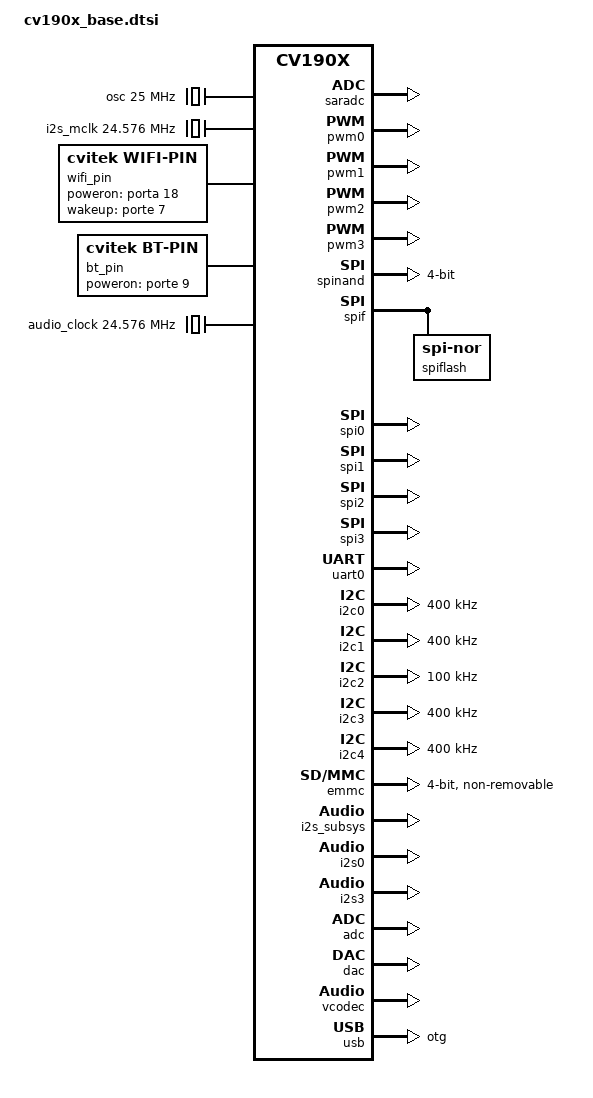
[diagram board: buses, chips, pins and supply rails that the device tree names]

/ {
	compatible = "cvitek,cv190x";

	#size-cells = <0x2>;
	#address-cells = <0x2>;

	top_misc:top_misc_ctrl@3000000 {
		compatible = "syscon";
		reg = <0x0 0x03000000 0x0 0x8000>;
	};

	clk_rst: clk-reset-controller {
		#reset-cells = <1>;
		compatible = "cvitek,clk-reset";
		reg = <0x0 0x03002000 0x0 0x8>;
	};

	osc: oscillator {
		#clock-cells = <0>;
		compatible = "fixed-clock";
		clock-frequency = <25000000>;
		clock-output-names = "osc";
	};

	clk: clock-controller {
		compatible = "cvitek,cv190x-clk";
		reg = <0x0 0x03002000 0x0 0x1000>;
		clocks = <&osc>;
		#clock-cells = <1>;
	};

	rst: reset-controller {
		#reset-cells = <1>;
		compatible = "cvitek,reset";
		reg = <0x0 0x03003000 0x0 0x10>;
	};

	restart: restart-controller {
		compatible = "cvitek,restart";
		reg = <0x0 0x05025000 0x0 0x2000>;
	};

	tpu {
		compatible = "cvitek,tpu";
		reg-names = "tdma", "tiu";
		reg = <0x0 0x0C100000 0x0 0x1000>,
			  <0x0 0x0C101000 0x0 0x1000>;
		clocks = <&clk CV190X_CLK_TPU>, <&clk CV190X_CLK_TPU_FAB>;
		clock-names = "clk_tpu_axi", "clk_tpu_fab";
		resets = <&rst RST_TDMA>, <&rst RST_TPU>, <&rst RST_TPUSYS>;
		reset-names = "res_tdma", "res_tpu", "res_tpusys";
	};

	mon {
		compatible = "cvitek,mon";
		reg-names = "pcmon", "ddr_ctrl", "ddr_phyd", "ddr_aximon", "ddr_top";
		reg = <0x0 0x01040000 0x0 0x1000>,
					<0x0 0x08004000 0x0 0x1000>,
					<0x0 0x08006000 0x0 0x1000>,
					<0x0 0x08008000 0x0 0x1000>,
					<0x0 0x0800A000 0x0 0x1000>;
	};

	saradc {
		compatible = "cvitek,saradc";
		reg-names = "top_domain_saradc", "rtc_domain_saradc";
		reg = <0x0 0x030F0000 0x0 0x1000>, <0x0 0x0502c000 0x0 0x1000>;
		clocks = <&clk CV190X_CLK_SARADC>;
		clock-names = "clk_saradc";
		resets = <&rst RST_SARADC>;
		reset-names = "res_saradc";
	};

	rtc {
		compatible = "cvitek,rtc";
		reg = <0x0 0x05026000 0x0 0x1000>,<0x0 0x05025000 0x0 0x1000>;
		clocks = <&clk CV190X_CLK_RTC_25M>;
		clock-names = "clk_rtc";
	};

#ifndef __UBOOT__
	cvitek-ion {
		compatible = "cvitek,cvitek-ion";

		heap_carveout@0 {
			compatible = "cvitek,carveout";
			memory-region = <&ion_reserved>;
		};
	};
#endif

	sysdma_remap {
		compatible = "cvitek,sysdma_remap";
		reg = <0x0 0x03000154 0x0 0x10>;
		ch-remap = <CVI_I2S0_RX CVI_I2S2_TX CVI_I2S1_RX CVI_I2S1_TX
					CVI_SPI_NAND CVI_SPI_NAND CVI_I2S2_RX CVI_I2S3_TX>;
		int_mux_base = <0x03000298>;
	};

	dmac: dma@0x4330000 {
		compatible = "snps,dmac-bm";
		reg = <0x0 0x04330000 0x0 0x1000>;
		clock-names = "clk_sdma_axi";
		clocks = <&clk CV190X_CLK_SDMA_AXI>;

		dma-channels = /bits/ 8 <8>;
		#dma-cells = <3>;
		dma-requests = /bits/ 8 <16>;
		chan_allocation_order = /bits/ 8 <0>;
		chan_priority = /bits/ 8 <1>;
		block_size = <1024>;
		dma-masters = /bits/ 8 <2>;
		data-width = <4 4>; /* bytes */
		axi_tr_width = <4>; /* bytes */
		block-ts = <15>;
	};

	watchdog0: cv-wd@0x3010000 {
		compatible = "snps,dw-wdt";
		reg = <0x0 0x03010000 0x0 0x1000>;
		resets = <&rst RST_WDT>;
		clocks = <&pclk>;
	};
	trng: dw_trng@0x02070000 {
		reg = <0x0 0x02070000 0x0 0x1000>;
		compatible = "snps,dw-trng";
	};
	spacc: cvi_spacc@02060000 {
		reg = <0x0 0x02060000 0x0 0x1000>;
		compatible = "cvitek,spacc";
	};

	pwm0: pwm@3060000 {
		compatible = "cvitek,cvi-pwm";
		reg = <0x0 0x3060000 0x0 0x1000>;
		clocks = <&clk CV190X_CLK_PWM>;
		#pwm-cells = <1>;
	};

	pwm1: pwm@3061000 {
		compatible = "cvitek,cvi-pwm";
		reg = <0x0 0x3061000 0x0 0x1000>;
		clocks = <&clk CV190X_CLK_PWM>;
		#pwm-cells = <2>;
	};

	pwm2: pwm@3062000 {
		compatible = "cvitek,cvi-pwm";
		reg = <0x0 0x3062000 0x0 0x1000>;
		clocks = <&clk CV190X_CLK_PWM>;
		#pwm-cells = <3>;
	};

	pwm3: pwm@3063000 {
		compatible = "cvitek,cvi-pwm";
		reg = <0x0 0x3063000 0x0 0x1000>;
		clocks = <&clk CV190X_CLK_PWM>;
		#pwm-cells = <4>;
	};

	pclk: pclk {
		#clock-cells = <0>;
		compatible = "fixed-clock";
		clock-frequency = <25000000>;
	};

	spinand:cv-spinf@4060000 {
		compatible = "cvitek,cv1835-spinf";
		reg = <0x0 0x4060000 0x0 0x1000>;
		reg-names = "core_mem";
		clocks = <&clk CV190X_CLK_SPI_NAND
			  &clk CV190X_CLK_AXI4>;
		clock-names = "clk_nand", "clk_axi";
		bus-width = <4>;
		dmas = <&dmac 4 1 1
			&dmac 5 1 1>;
		dma-names = "rx","tx";
	};

	spif:cvi-spif@10000000 {
		compatible = "cvitek,cvi-spif";
		bus-num = <0>;
		reg = <0x0 0x10000000 0x0 0x10000000>;
		reg-names = "spif";
		sck-div = <3>;
		sck_mhz = <300>;
		spi-max-frequency = <75000000>;
		spiflash {
			compatible = "jedec,spi-nor";
			spi-rx-bus-width = <4>;
			spi-tx-bus-width = <4>;
		};
	};

	spi0:spi0@04180000 {
		compatible = "snps,dw-apb-ssi";
		reg = <0x0 0x04180000 0x0 0x10000>;
		clocks = <&clk CV190X_CLK_SPI>;
		#address-cells = <1>;
		#size-cells = <0>;
	};

	spi1:spi1@04190000 {
		compatible = "snps,dw-apb-ssi";
		reg = <0x0 0x04190000 0x0 0x10000>;
		clocks = <&clk CV190X_CLK_SPI>;
		#address-cells = <1>;
		#size-cells = <0>;
	};

	spi2:spi2@041A0000 {
		compatible = "snps,dw-apb-ssi";
		reg = <0x0 0x041A0000 0x0 0x10000>;
		clocks = <&clk CV190X_CLK_SPI>;
		#address-cells = <1>;
		#size-cells = <0>;
	};

	spi3:spi3@041B0000 {
		compatible = "snps,dw-apb-ssi";
		reg = <0x0 0x041B0000 0x0 0x10000>;
		clocks = <&clk CV190X_CLK_SPI>;
		#address-cells = <1>;
		#size-cells = <0>;
#if 0
		dmas = <&dmac 2 1 1
			&dmac 3 1 1>;
		dma-names = "rx", "tx";
		capability = "txrx";
#endif
	};

	uart0: serial@04140000 {
		compatible = "snps,dw-apb-uart";
		reg = <0x0 0x04140000 0x0 0x1000>;
		clock-frequency = <25000000>;
		reg-shift = <2>;
		reg-io-width = <4>;
		status = "okay";
	};

	uart1: serial@04150000 {
		compatible = "snps,dw-apb-uart";
		reg = <0x0 0x04150000 0x0 0x1000>;
		clock-frequency = <25000000>;
		reg-shift = <2>;
		reg-io-width = <4>;
		status = "disabled";
	};

	uart2: serial@04160000 {
		compatible = "snps,dw-apb-uart";
		reg = <0x0 0x04160000 0x0 0x1000>;
		clock-frequency = <25000000>;
		reg-shift = <2>;
		reg-io-width = <4>;
		status = "disabled";
	};

	uart3: serial@04170000 {
		compatible = "snps,dw-apb-uart";
		reg = <0x0 0x04170000 0x0 0x1000>;
		clock-frequency = <25000000>;
		reg-shift = <2>;
		reg-io-width = <4>;
		status = "disabled";
	};

	uart4: serial@041C0000 {
		compatible = "snps,dw-apb-uart";
		reg = <0x0 0x041C0000 0x0 0x1000>;
		clock-frequency = <25000000>;
		reg-shift = <2>;
		reg-io-width = <4>;
		status = "disabled";
	};

	gpio0: gpio@03020000 {
		compatible = "snps,dw-apb-gpio";
		reg = <0x0 0x03020000 0x0 0x1000>;
		#address-cells = <1>;
		#size-cells = <0>;

		porta: gpio-controller@0 {
			compatible = "snps,dw-apb-gpio-port";
			bank-name = "porta";
			gpio-controller;
			#gpio-cells = <2>;
			snps,nr-gpios = <32>;
			reg = <0>;
		};
	};

	gpio1: gpio@03021000 {
		compatible = "snps,dw-apb-gpio";
		reg = <0x0 0x03021000 0x0 0x1000>;
		#address-cells = <1>;
		#size-cells = <0>;

		portb: gpio-controller@1 {
			compatible = "snps,dw-apb-gpio-port";
			bank-name = "portb";
			gpio-controller;
			#gpio-cells = <2>;
			snps,nr-gpios = <32>;
			reg = <0>;
		};
	};

	gpio2: gpio@03022000 {
		compatible = "snps,dw-apb-gpio";
		reg = <0x0 0x03022000 0x0 0x1000>;
		#address-cells = <1>;
		#size-cells = <0>;

		portc: gpio-controller@2 {
			compatible = "snps,dw-apb-gpio-port";
			bank-name = "portc";
			gpio-controller;
			#gpio-cells = <2>;
			snps,nr-gpios = <32>;
			reg = <0>;
		};
	};

	gpio3: gpio@03023000 {
		compatible = "snps,dw-apb-gpio";
		reg = <0x0 0x03023000 0x0 0x1000>;
		#address-cells = <1>;
		#size-cells = <0>;

		portd: gpio-controller@3 {
			compatible = "snps,dw-apb-gpio-port";
			bank-name = "portd";
			gpio-controller;
			#gpio-cells = <2>;
			snps,nr-gpios = <32>;
			reg = <0>;
		};
	};

	gpio4: gpio@05021000 {
		compatible = "snps,dw-apb-gpio";
		reg = <0x0 0x05021000 0x0 0x1000>;
		#address-cells = <1>;
		#size-cells = <0>;

		porte: gpio-controller@4 {
			compatible = "snps,dw-apb-gpio-port";
			bank-name = "porte";
			gpio-controller;
			#gpio-cells = <2>;
			snps,nr-gpios = <32>;
			reg = <0>;
		};
	};

	i2c0: i2c@04000000 {
		compatible = "snps,designware-i2c";
		clocks = <&clk CV190X_CLK_I2C>;
		reg = <0x0 0x04000000 0x0 0x1000>;
		clock-frequency = <400000>;

		#size-cells = <0x0>;
		#address-cells = <0x1>;
		resets = <&rst RST_I2C0>;
		reset-names = "i2c0";
	};

	i2c1: i2c@04010000 {
		compatible = "snps,designware-i2c";
		clocks = <&clk CV190X_CLK_I2C>;
		reg = <0x0 0x04010000 0x0 0x1000>;
		clock-frequency = <400000>;

		#size-cells = <0x0>;
		#address-cells = <0x1>;
		resets = <&rst RST_I2C1>;
		reset-names = "i2c1";
	};

	i2c2: i2c@04020000 {
		compatible = "snps,designware-i2c";
		clocks = <&clk CV190X_CLK_I2C>;
		reg = <0x0 0x04020000 0x0 0x1000>;
		clock-frequency = <100000>;

		#size-cells = <0x0>;
		#address-cells = <0x1>;
		resets = <&rst RST_I2C2>;
		reset-names = "i2c2";
	};

	i2c3: i2c@04030000 {
		compatible = "snps,designware-i2c";
		clocks = <&clk CV190X_CLK_I2C>;
		reg = <0x0 0x04030000 0x0 0x1000>;
		clock-frequency = <400000>;

		#size-cells = <0x0>;
		#address-cells = <0x1>;
		resets = <&rst RST_I2C3>;
		reset-names = "i2c3";
	};

	i2c4: i2c@04040000 {
		compatible = "snps,designware-i2c";
		clocks = <&clk CV190X_CLK_I2C>;
		reg = <0x0 0x04040000 0x0 0x1000>;
		clock-frequency = <400000>;

		#size-cells = <0x0>;
		#address-cells = <0x1>;
		resets = <&rst RST_I2C4>;
		reset-names = "i2c4";
	};

	emmc:cv-emmc@4300000 {
		compatible = "cvitek,cv190x-emmc";
		reg = <0x0 0x4300000 0x0 0x1000>;
		reg-names = "core_mem";
		bus-width = <4>;
		cap-mmc-highspeed;
		non-removable;
		no-sdio;
		no-sd;
		src-frequency = <400000000>;
		min-frequency = <400000>;
		max-frequency = <200000000>;
		64_addressing;
		reset_tx_rx_phy;
		reset-names = "sdhci";
		pll_index = <0x5>;
		pll_reg = <0x3002064>;
	};

	sd:cv-sd@4310000 {
		compatible = "cvitek,cv190x-sd";
		reg = <0x0 0x4310000 0x0 0x1000>;
		reg-names = "core_mem";
		bus-width = <4>;
		cap-sd-highspeed;
		cap-mmc-highspeed;
		sd-uhs-sdr12;
		sd-uhs-sdr25;
		sd-uhs-sdr50;
		sd-uhs-sdr104;
		no-sdio;
		no-mmc;
		/*no-1-8-v;*/
		src-frequency = <400000000>;
		min-frequency = <400000>;
		max-frequency = <200000000>;
		64_addressing;
		reset_tx_rx_phy;
		reset-names = "sdhci";
		pll_index = <0x6>;
		pll_reg = <0x3002070>;
		cvi-cd-gpios = <&porta 13 GPIO_ACTIVE_LOW>;
	};

	wifisd:wifi-sd@4320000 {
		compatible = "cvitek,cv190x-sdio";
		bus-width = <4>;
		reg = <0x0 0x4320000 0x0 0x1000>;
		reg_names = "core_mem";
		src-frequency = <375000000>;
		min-frequency = <400000>;
		max-frequency = <50000000>;
		64_addressing;
		reset_tx_rx_phy;
		non-removable;
		pll_index = <0x7>;
		pll_reg = <0x300207C>;
		no-mmc;
		no-sd;
		status = "disabled";
	};

	i2s_mclk: i2s_mclk {
		clock-output-names = "i2s_mclk";
		clock-frequency = <24576000>;
		#clock-cells = <0x0>;
		compatible = "fixed-clock";
	};

	i2s_subsys {
		compatible = "cvitek,i2s_tdm_subsys";
		reg = <0x0 0x04108000 0x0 0x100>;
		clocks = <&clk CV190X_CLK_A0PLL>, <&clk CV190X_CLK_A24K>,
			<&clk CV190X_CLK_SDMA_AUD0>, <&clk CV190X_CLK_SDMA_AUD1>,
			<&clk CV190X_CLK_SDMA_AUD2>, <&clk CV190X_CLK_SDMA_AUD3>;
		clock-names ="clk_a0pll", "a24k",
			"clk_aud0", "clk_aud1",
			"clk_aud2", "clk_aud3";
		default-freq = <24576000>;
	};

	i2s0: i2s@04100000 {
		compatible = "cvitek,cvitek-i2s";
		reg = <0x0 0x04100000 0x0 0x2000>;
		clocks = <&clk CV190X_CLK_SDMA_AUD0>;
		clock-names = "clk_aud0";
		dev-id = <0>;
		#sound-dai-cells = <0>;
		dmas = <&dmac 0 1 1>; /* read channel */
		dma-names = "rx";
		capability = "rx"; /* I2S0 connect to internal ADC as RX */
		mclk_out = "false";
	};

	i2s3: i2s@04130000 {
		compatible = "cvitek,cvitek-i2s";
		reg = <0x0 0x04130000 0x0 0x2000>;
		clocks = <&clk CV190X_CLK_SDMA_AUD3>;
		clock-names = "clk_aud3";
		dev-id = <3>;
		#sound-dai-cells = <0>;
		dmas = <&dmac 7 1 1>; /* write channel */
		dma-names = "tx";
		capability = "tx"; /* I2S3 connect to internal DAC as TX */
		mclk_out = "true";
	};

	adc: adc@0300A100 {
		compatible = "cvitek,cvitek_adc";
		reg = <0x0 0x0300A100 0x0 0x100>;
		clocks = <&clk CV190X_CLK_SDMA_AUD0>;
		clock-names = "clk_aud0";

		dev_id = <0>;
		dac_addr = <0x0300A000>;
		bind_i2s = <0>;
		sdma_clk_en = <0x3002004>;
		reset_cntl = <0x03003008>, <29>;	/* ip soft reset */
	};

	dac: dac@0300A000 {
		compatible = "cvitek,cvitek_dac";
		reg = <0x0 0x0300A000 0x0 0x100>;
		clocks = <&clk CV190X_CLK_SDMA_AUD3>;
		clock-names = "clk_aud3";

		dev_id = <0>;
		bind_i2s = <3>;
		sdma_clk_en = <0x3002004>;
		reset_cntl = <0x03003008>, <27>;	/* ip soft reset */
	};

	sound_adc {
		compatible = "cvitek,cvitek-card-adc";
		model = "CV190X";
		card_name = "adc_card";
		status = "okay";
		dai@0 {
			dai_name = "dai_codec_adc0";
			stream_name = "dai_record0";
			cpu_dai_name = "4100000.i2s";
			codec_dai_name = "300a100.adc";
			platform_name = "4100000.i2s";
			codec_name = "adc";
			stream_type = "capture";
			mode = "I2S";
			fmt = "IBNF";
			role = "slave";
			slot_no = <2>;
			//adc0:0300A100 - i2s0:04100000;
		};
	};

	sound_dac {
		compatible = "cvitek,cvitek-card-dac";
		model = "CV190X";
		card_name = "dac_card";
		status = "okay";
		dai@0 {
			dai_name = "dai_codec_dac0";
			stream_name = "dai_playback0";
			cpu_dai_name = "4130000.i2s";
			codec_dai_name = "300a000.dac";
			platform_name = "4130000.i2s";
			codec_name = "dac";
			stream_type = "playback";
			mode = "I2S";
			fmt = "IBNF";
			role = "master";
			slot_no = <2>;
		};
	};

	sound_ext {
		compatible = "cvitek,cvitek-ext";
		model = "CV190X";
		card_name = "ext_sound_card";
		status = "disabled";
		dai@0 {
			dai_name = "ext_record";
			stream_name = "record_stream";
			cpu_dai_name = "4100000.i2s";
			codec_dai_name = "dummy_codec";
			platform_name = "4100000.i2s";
			codec_name = "dummy_codec-aif";
			stream_type = "capture";
			mode = "I2S";
			fmt = "IBNF";
			role = "master";
			slot_no=<2>;
		};

		dai@1 {
			dai_name = "ext_playback";
			stream_name = "play_stream";
			cpu_dai_name = "4130000.i2s";
			codec_dai_name = "dummy_codec";
			platform_name = "4130000.i2s";
			codec_name = "dummy_codec-aif";
			stream_type = "playback";
			mode = "I2S";
			fmt = "IBNF";
			role = "master";
			slot_no=<2>;
		};
	};

	wifi_pin {
		compatible = "cvitek,wifi-pin";
		poweron-gpio = <&porta 18 GPIO_ACTIVE_HIGH>;
		wakeup-gpio = <&porte 7 GPIO_ACTIVE_HIGH>;
	};

	bt_pin {
		compatible = "cvitek,bt-pin";
		poweron-gpio = <&porte 9 GPIO_ACTIVE_HIGH>;
	};


	mipi_rx: cif {
		compatible = "cvitek,cif";
		reg = <0x0 0x0a0c2000 0x0 0x2000>, <0x0 0x0a0d0000 0x0 0x1000>,
		      <0x0 0x0a0c4000 0x0 0x2000>, <0x0 0x03002800 0x0 0x100>;
		reg-names = "csi_mac0", "csi_wrap0", "csi_mac1", "mclk_gen";
		interrupts = <26 IRQ_TYPE_LEVEL_HIGH>, <27 IRQ_TYPE_LEVEL_HIGH>;
		interrupt-names = "csi_mac0", "csi_mac1";
		snsr-reset = <&porta 2 GPIO_ACTIVE_LOW>, <&porta 2 GPIO_ACTIVE_LOW>, <&porta 2 GPIO_ACTIVE_LOW>;
		resets = <&rst RST_CSIPHY0>, <&rst RST_CSIPHY0RST_APB>;
		reset-names = "phy0", "phy-apb0";
		clocks = <&clk CV190X_CLK_CAM0>, <&clk CV190X_CLK_CAM1>, <&clk CV190X_CLK_SRC_VIP_SYS_2>,
			 <&clk CV190X_CLK_MPLL_D2>, <&clk CV190X_CLK_DISPPLL>, <&clk CV190X_CLK_FPLL>;
		clock-names = "clk_cam[0]", "clk_cam[1]", "clk_sys_2",
			      "clk_mipimpll", "clk_disppll", "clk_fpll";
	};

	base {
		compatible = "cvitek,base";
	};

	sys {
		compatible = "cvitek,sys";
		reg = <0x0 0x0a0c8000 0x0 0x2000>,
				<0x0 0x3000000 0x0 0x90>,
				<0x0 0x05026000 0x0 0x100>;
		reg-names = "vi_sys", "top_base", "rtc_base";
	};

	vi {
		compatible = "cvitek,vi";
		reg = <0x0 0x0a000000 0x0 0x80000>;
		clocks = <&clk CV190X_CLK_SRC_VIP_SYS_0>, <&clk CV190X_CLK_SRC_VIP_SYS_1>,
				<&clk CV190X_CLK_SRC_VIP_SYS_2>, <&clk CV190X_CLK_SRC_VIP_SYS_3>,
				<&clk CV190X_CLK_AXI_VIP>, <&clk CV190X_CLK_CSI_BE_VIP>,
				<&clk CV190X_CLK_RAW_VIP>, <&clk CV190X_CLK_ISP_TOP_VIP>,
				<&clk CV190X_CLK_CSI_MAC0_VIP>, <&clk CV190X_CLK_CSI_MAC1_VIP>,
				<&clk CV190X_CLK_CSI_MAC2_VIP>;
		clock-names = "clk_sys_0", "clk_sys_1", "clk_sys_2", "clk_sys_3",
					"clk_axi", "clk_csi_be", "clk_raw", "clk_isp_top",
					"clk_csi_mac0", "clk_csi_mac1", "clk_csi_mac2";
		clock-freq-vip-sys1 = <300000000>;
	};

	vpss {
		compatible = "cvitek,vpss";
		reg = <0x0 0x0a0a0000 0x0 0x10000>,
			<0x0 0x0a0b0000 0x0 0x10000>,
			<0x0 0x0a0f0000 0x0 0x10000>;
		reg-names = "vpss_v0", "vpss_v1", "vpss_v2";
		clocks = <&clk CV190X_CLK_VPSS0>,  <&clk CV190X_CLK_VPSS1>,  <&clk CV190X_CLK_VPSS2>;
		clock-names = "clk_vpss0", "clk_vpss1", "clk_vpss2";
	};

	gdc {
		compatible = "cvitek,gdc";
		reg = <0x0 0x0a0c0000 0x0 0x1000>;
		reg-names = "ldc0";
		clocks = <&clk CV190X_CLK_LDC_VIP>;
		clock-names = "reg_clk_ldc_vip_en";
	};

	rgn {
		compatible = "cvitek,rgn";
	};

	vcodec {
		compatible = "cvitek,encoder-bke";
		reg = <0x0 0x0B010000 0x0 0x10000>,
		      <0x0 0x0B030000 0x0 0x100>,
		      <0x0 0x0B058000 0x0 0x100>,
		      <0x0 0x0B050000 0x0 0x400>;
		reg-names = "vepu", "vc_ctrl", "vc_sbm", "vc_addr_remap";
		clocks = <&clk CV190X_CLK_VC_SRC0>,
			<&clk CV190X_CLK_APB_H264C>, <&clk CV190X_CLK_H264C>;
		clock-names = "clk_vc_src0", "clk_apb_h264c", "clk_h264c";
		cvitek,keep-vpu-clocks-on;
	};

	jpu {
		compatible = "cvitek,codec-jpeg";
		reg = <0x0 0x0B000000 0x0 0x10000>;
		reg-names = "jpeg_ctrl";
		clocks = <&clk CV190X_CLK_VC_SRC1>,
			<&clk CV190X_CLK_APB_JPEG>;
		clock-names = "clk_vc_src1", "clk_apb_jpeg";
	};

	vc_drv {
		compatible = "cvitek,vc_drv";
		clocks = <&clk CV190X_CLK_AXI_VIDEO_CODEC>,
			 <&clk CV190X_CLK_APB_H264C>;
		clock-names = "clk_axi_video_codec",
			      "clk_apb_h264c";
	};

#if CVIMMAP_RTOS_SYS_TOTAL_SIZE > 0
	mailbox: mailbox@01900000 {
		compatible = "cvitek,cv190x-mailbox";
		reg = <0x0 0x01900000 0x0 0x1000>;
		interrupts = <101 IRQ_TYPE_LEVEL_HIGH>;
		interrupt-names = "mailbox";
		#mbox-cells = <1>;
		status = "disabled";
	};

	c906l_rproc: remoteproc {
		compatible = "cvitek,cv19xx-rproc";
		memory-region = <&vdev0vring0_reserved>,
		                <&vdev0vring1_reserved>,
		                <&vdev0buffer_reserved>;
		mboxes = <&mailbox 0>, <&mailbox 1>;
		mbox-names = "tx", "rx";
		status = "disabled";
	};

	rtos_cmdqu {
		compatible = "cvitek,rtos_cmdqu";
		reg = <0x0 0x01900000 0x0 0x1000>;
		shared_addr = <CVIMMAP_SHARE_MEM_ADDR>;
		shared_size = <CVIMMAP_SHARE_MEM_SIZE>;
		rtos_ion_addr = <CVIMMAP_RTOS_ION_ADDR>;
		rtos_ion_size = <CVIMMAP_RTOS_ION_SIZE>;
		rtos_log_addr = <CVIMMAP_RTOS_LOG_ADDR>;
		rtos_log_size = <CVIMMAP_RTOS_LOG_SIZE>;
		reg-names = "mailbox";
		interrupts = <101 IRQ_TYPE_LEVEL_HIGH>;
		interrupt-names = "mailbox";
	};
#endif

	usb: usb@04340000 {
		compatible = "cvitek,cv182x-usb";
		reg = <0x0 0x04340000 0x0 0x10000>,
			<0x0 0x03006000 0x0 0x58>;	//USB 2.0 PHY
		dr_mode = "otg";
		g-use-dma;
		g-rx-fifo-size = <536>;
		g-np-tx-fifo-size = <32>;
		g-tx-fifo-size = <768 512 512 384 128 128>;
		clocks = <&clk CV190X_CLK_AXI4_USB>,
				<&clk CV190X_CLK_APB_USB>,
				<&clk CV190X_CLK_125M_USB>,
				<&clk CV190X_CLK_33K_USB>,
				<&clk CV190X_CLK_12M_USB>;
		clock-names = "clk_axi", "clk_apb", "clk_125m", "clk_33k", "clk_12m";
		vbus-gpio = <&portb 6 0>;
		status = "okay";
	};

	thermal:thermal@030E0000 {
		compatible = "cvitek,cv190x-thermal";
		reg = <0x0 0x030E0000 0x0 0x10000>;
		clocks = <&clk CV190X_CLK_TEMPSEN>;
		clock-names = "clk_tempsen";
		reset-names = "tempsen";
		#thermal-sensor-cells = <1>;
	};


	cv182x_cooling:cv182x_cooling {
		clocks = <&clk CV190X_CLK_A53>, <&clk CV190X_CLK_TPU>;
		clock-names = "clk_a53", "clk_tpu_axi";
		dev-freqs = <1000000000 750000000>,
			<500000000 375000000>,
			<500000000 100000000>;
		compatible = "cvitek,cv182x-cooling";
		#cooling-cells = <2>;
	};


	thermal-zones {
		soc_thermal_0: soc_thermal_0 {
			polling-delay-passive = <1000>; /* milliseconds */
			polling-delay = <1000>; /* milliseconds */
			thermal-sensors = <&thermal 0>;

			trips {
				soc_thermal_trip_0: soc_thermal_trip_0 {
					temperature = <100000>; /* millicelsius */
					hysteresis = <5000>; /* millicelsius */
					type = "passive";
				};

				soc_thermal_trip_1: soc_thermal_trip_1 {
					temperature = <110000>; /* millicelsius */
					hysteresis = <5000>; /* millicelsius */
					type = "passive";
				};

				soc_thermal_crtical_0: soc_thermal_crtical_0 {
					temperature = <130000>; /* millicelsius */
					hysteresis = <0>; /* millicelsius */
					type = "critical";
				};
			};
		};
	};

	cviaudio_core {
		compatible = "cvitek,audio";
	};

	audio_clock: audio_clock {
		compatible = "fixed-clock";
		#clock-cells = <0>;
#if 0
		clock-frequency = <12288000>;
#else
		clock-frequency = <24576000>;
#endif
		};

	cvipctrl: pinctrl@3001000 {
		compatible = "cvitek,pinctrl-cv190x";
		reg = <0 0x03001000 0 0x1000>;
	};

	aliases {
		i2c0 = &i2c0;
		i2c1 = &i2c1;
		i2c2 = &i2c2;
		i2c3 = &i2c3;
		i2c4 = &i2c4;
		serial0 = &uart0;
		serial1 = &uart1;
		serial2 = &uart2;
		serial3 = &uart3;
		serial4 = &uart4;
	};


	chosen {
		stdout-path = "serial0";
		opensbi-domain{
			compatible = "opensbi,dimain,config";

			tdomain: trusted-domain {
				compatible = "opensbi,domain,instance";
				possible-harts = <&cpu0>;
				system-suspend-allowed;
			};
		};
	};
};

